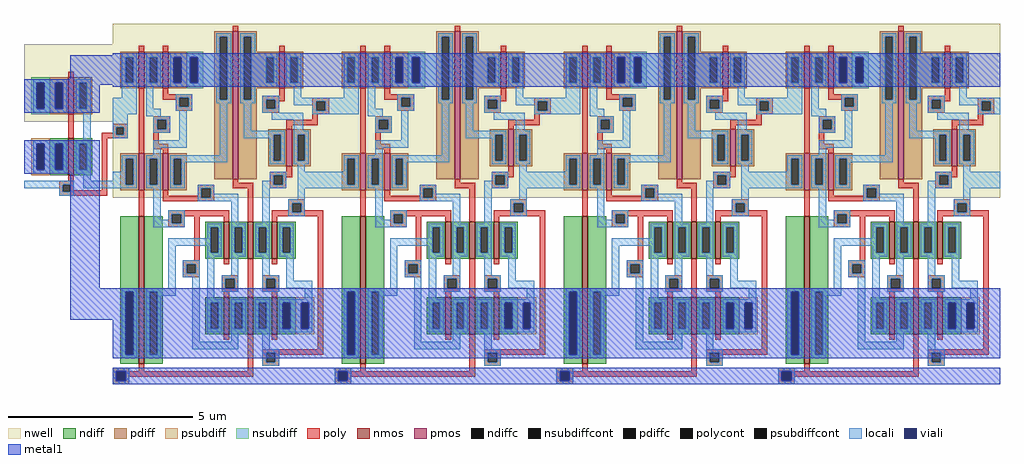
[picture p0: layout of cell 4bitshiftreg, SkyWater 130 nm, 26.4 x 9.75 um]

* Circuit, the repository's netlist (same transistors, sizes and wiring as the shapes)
* NGSPICE file created from 4bitshiftreg.ext - technology: sky130A

.subckt CSR_DFF DB D QB CLK Q VDD GND
X0 GND Q QB GND sky130_fd_pr__nfet_01v8 ad=0.5 pd=3 as=0.25 ps=1.5 w=1 l=0.15
X1 a_n720_710# a_n720_1260# a_n720_n230# GND sky130_fd_pr__nfet_01v8 ad=0.25 pd=1.5 as=0.5 ps=3 w=1 l=0.15
X2 QB Q a_n210_770# VDD sky130_fd_pr__pfet_01v8 ad=0.5 pd=3 as=0.5 ps=3 w=1 l=0.15
X3 QB CLK a_n720_710# GND sky130_fd_pr__nfet_01v8 ad=0.25 pd=1.5 as=0.25 ps=1.5 w=1 l=0.15
X4 a_n720_n230# CLK GND GND sky130_fd_pr__nfet_01v8 ad=2 pd=9 as=2 ps=9 w=4 l=0.15
X5 Q QB a_n210_770# VDD sky130_fd_pr__pfet_01v8 ad=0.5 pd=3 as=1.3 ps=5.1 w=1 l=0.15
X6 a_n720_1260# CLK D VDD sky130_fd_pr__pfet_01v8 ad=0.25 pd=1.5 as=0.5 ps=3 w=1 l=0.15
X7 a_n210_770# CLK VDD VDD sky130_fd_pr__pfet_01v8 ad=1.3 pd=5.1 as=2 ps=9 w=4 l=0.15
X8 GND QB Q GND sky130_fd_pr__nfet_01v8 ad=0.5 pd=3 as=0.25 ps=1.5 w=1 l=0.15
X9 a_n720_1260# a_n720_710# a_n720_n230# GND sky130_fd_pr__nfet_01v8 ad=0.25 pd=1.5 as=0.5 ps=3 w=1 l=0.15
X10 VDD a_n720_710# a_n720_1260# VDD sky130_fd_pr__pfet_01v8 ad=0.5 pd=3 as=0.25 ps=1.5 w=1 l=0.15
X11 a_n720_710# CLK DB VDD sky130_fd_pr__pfet_01v8 ad=0.25 pd=1.5 as=0.5 ps=3 w=1 l=0.15
X12 VDD a_n720_1260# a_n720_710# VDD sky130_fd_pr__pfet_01v8 ad=0.5 pd=3 as=0.25 ps=1.5 w=1 l=0.15
X13 Q CLK a_n720_1260# GND sky130_fd_pr__nfet_01v8 ad=0.25 pd=1.5 as=0.25 ps=1.5 w=1 l=0.15
.ends

.subckt inverter A Y VP VN
X0 Y A VN VN sky130_fd_pr__nfet_01v8 ad=0.5 pd=3 as=0.5 ps=3 w=1 l=0.15
X1 Y A VP VP sky130_fd_pr__pfet_01v8 ad=0.5 pd=3 as=0.5 ps=3 w=1 l=0.15
.ends


* Top level circuit 4bitshiftreg

XCSR_DFF_3 CSR_DFF_3/DB CSR_DFF_3/D CSR_DFF_3/QB CSR_DFF_3/CLK CSR_DFF_3/Q inverter_0/VP
+ VSUBS CSR_DFF
Xinverter_0 CSR_DFF_1/D inverter_0/Y inverter_0/VP VSUBS inverter
XCSR_DFF_0 CSR_DFF_3/QB CSR_DFF_3/Q CSR_DFF_0/QB CSR_DFF_3/CLK CSR_DFF_0/Q inverter_0/VP
+ VSUBS CSR_DFF
XCSR_DFF_1 inverter_0/Y CSR_DFF_1/D CSR_DFF_2/DB CSR_DFF_3/CLK CSR_DFF_2/D inverter_0/VP
+ VSUBS CSR_DFF
XCSR_DFF_2 CSR_DFF_2/DB CSR_DFF_2/D CSR_DFF_3/DB CSR_DFF_3/CLK CSR_DFF_3/D inverter_0/VP
+ VSUBS CSR_DFF
.end

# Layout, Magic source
magic
tech sky130A
<< nwell >>
rect -285 655 -45 845
rect -285 635 -5 655
rect -45 630 -5 635
<< poly >>
rect -45 620 -5 630
rect -45 605 -35 620
rect -75 600 -35 605
rect -15 600 -5 620
rect -75 590 -5 600
rect -75 450 -60 590
rect -150 435 -60 450
<< polycont >>
rect -35 600 -15 620
<< locali >>
rect -45 620 -5 655
rect -45 600 -35 620
rect -15 600 -5 620
rect -45 590 -5 600
rect -80 455 -40 475
<< metal1 >>
rect -160 735 -45 815
rect -160 185 -80 495
rect -160 100 -45 185
use CSR_DFF  CSR_DFF_0
transform 1 0 2200 0 1 95
box -445 -170 155 805
use CSR_DFF  CSR_DFF_1
transform 1 0 400 0 1 95
box -445 -170 155 805
use CSR_DFF  CSR_DFF_2
transform 1 0 1000 0 1 95
box -445 -170 155 805
use CSR_DFF  CSR_DFF_3
transform 1 0 1600 0 1 95
box -445 -170 155 805
use inverter  inverter_0 ~/Documents/MP1/layout
transform 1 0 -160 0 1 495
box -125 -60 80 280
<< end >>

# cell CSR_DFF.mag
magic
tech sky130A
<< nwell >>
rect -445 335 155 805
<< nmos >>
rect -375 -115 -360 285
rect -145 170 -130 270
rect -80 170 -65 270
rect -15 170 0 270
rect -145 -35 -130 65
rect -80 -35 -65 65
rect -15 -35 0 65
<< pmos >>
rect -375 630 -360 730
rect -310 630 -295 730
rect -375 355 -360 455
rect -310 355 -295 455
rect -120 385 -105 785
rect 5 630 20 730
rect 25 420 40 520
<< ndiff >>
rect -425 80 -375 285
rect -425 -90 -410 80
rect -390 -90 -375 80
rect -425 -115 -375 -90
rect -360 80 -310 285
rect -195 255 -145 270
rect -195 185 -180 255
rect -160 185 -145 255
rect -195 170 -145 185
rect -130 255 -80 270
rect -130 185 -115 255
rect -95 185 -80 255
rect -130 170 -80 185
rect -65 255 -15 270
rect -65 185 -50 255
rect -30 185 -15 255
rect -65 170 -15 185
rect 0 255 50 270
rect 0 185 15 255
rect 35 185 50 255
rect 0 170 50 185
rect -360 -90 -345 80
rect -325 -90 -310 80
rect -195 50 -145 65
rect -195 -20 -180 50
rect -160 -20 -145 50
rect -195 -35 -145 -20
rect -130 50 -80 65
rect -130 -20 -115 50
rect -95 -20 -80 50
rect -130 -35 -80 -20
rect -65 50 -15 65
rect -65 -20 -50 50
rect -30 -20 -15 50
rect -65 -35 -15 -20
rect 0 50 50 65
rect 0 -20 15 50
rect 35 -20 50 50
rect 0 -35 50 -20
rect -360 -115 -310 -90
<< pdiff >>
rect -170 770 -120 785
rect -425 715 -375 730
rect -425 645 -410 715
rect -390 645 -375 715
rect -425 630 -375 645
rect -360 715 -310 730
rect -360 645 -345 715
rect -325 645 -310 715
rect -360 630 -310 645
rect -295 715 -245 730
rect -295 645 -280 715
rect -260 645 -245 715
rect -295 630 -245 645
rect -170 600 -155 770
rect -135 600 -120 770
rect -425 440 -375 455
rect -425 370 -410 440
rect -390 370 -375 440
rect -425 355 -375 370
rect -360 440 -310 455
rect -360 370 -345 440
rect -325 370 -310 440
rect -360 355 -310 370
rect -295 440 -245 455
rect -295 370 -280 440
rect -260 370 -245 440
rect -170 385 -120 600
rect -105 770 -55 785
rect -105 600 -90 770
rect -70 730 -55 770
rect -70 715 5 730
rect -70 645 -30 715
rect -10 645 5 715
rect -70 630 5 645
rect 20 715 70 730
rect 20 645 35 715
rect 55 645 70 715
rect 20 630 70 645
rect -70 600 -55 630
rect -105 385 -55 600
rect -25 505 25 520
rect -25 435 -10 505
rect 10 435 25 505
rect -25 420 25 435
rect 40 505 90 520
rect 40 435 55 505
rect 75 435 90 505
rect 40 420 90 435
rect -295 355 -245 370
<< ndiffc >>
rect -410 -90 -390 80
rect -180 185 -160 255
rect -115 185 -95 255
rect -50 185 -30 255
rect 15 185 35 255
rect -345 -90 -325 80
rect -180 -20 -160 50
rect -115 -20 -95 50
rect -50 -20 -30 50
rect 15 -20 35 50
<< pdiffc >>
rect -410 645 -390 715
rect -345 645 -325 715
rect -280 645 -260 715
rect -155 600 -135 770
rect -410 370 -390 440
rect -345 370 -325 440
rect -280 370 -260 440
rect -90 600 -70 770
rect -30 645 -10 715
rect 35 645 55 715
rect -10 435 10 505
rect 55 435 75 505
<< psubdiff >>
rect 50 50 100 65
rect 50 -20 65 50
rect 85 -20 100 50
rect 50 -35 100 -20
<< nsubdiff >>
rect -245 715 -200 730
rect -245 645 -235 715
rect -215 645 -200 715
rect -245 630 -200 645
<< psubdiffcont >>
rect 65 -20 85 50
<< nsubdiffcont >>
rect -235 645 -215 715
<< poly >>
rect -120 785 -105 800
rect -375 730 -360 745
rect -310 730 -295 745
rect -375 455 -360 630
rect -310 615 -295 630
rect -310 605 -230 615
rect -310 600 -265 605
rect -275 580 -265 600
rect -240 580 -230 605
rect -275 570 -230 580
rect -335 545 -290 555
rect -335 520 -325 545
rect -300 520 -290 545
rect -335 510 -290 520
rect -335 480 -320 510
rect -335 465 -295 480
rect -310 455 -295 465
rect 5 730 20 745
rect 5 610 20 630
rect -40 600 20 610
rect -40 575 -30 600
rect -5 595 20 600
rect 95 595 140 605
rect -5 575 5 595
rect -40 565 5 575
rect 95 570 105 595
rect 130 570 140 595
rect 95 560 140 570
rect 95 545 110 560
rect 25 530 110 545
rect 25 520 40 530
rect 25 405 40 420
rect -20 395 40 405
rect -120 375 -105 385
rect -215 360 -170 370
rect -120 360 -65 375
rect -20 370 -10 395
rect 15 390 40 395
rect 15 370 25 390
rect -20 360 25 370
rect -375 285 -360 355
rect -310 340 -295 355
rect -215 340 -205 360
rect -310 335 -205 340
rect -180 335 -170 360
rect -310 325 -170 335
rect -295 290 -130 300
rect -295 265 -285 290
rect -260 285 -130 290
rect -260 265 -250 285
rect -295 255 -250 265
rect -225 165 -210 285
rect -145 270 -130 285
rect -80 270 -65 360
rect 30 320 75 330
rect 30 300 40 320
rect -15 295 40 300
rect 65 300 75 320
rect 65 295 125 300
rect -15 285 125 295
rect -15 270 0 285
rect -255 155 -210 165
rect -145 155 -130 170
rect -255 130 -245 155
rect -220 130 -210 155
rect -255 120 -210 130
rect -150 115 -105 125
rect -150 90 -140 115
rect -115 90 -105 115
rect -150 80 -105 90
rect -145 65 -130 80
rect -80 65 -65 170
rect -15 155 0 170
rect -40 115 5 125
rect -40 90 -30 115
rect -5 90 5 115
rect -40 80 5 90
rect -15 65 0 80
rect -145 -50 -130 -35
rect -445 -135 -400 -125
rect -375 -135 -360 -115
rect -80 -135 -65 -35
rect -15 -50 0 -35
rect 110 -75 125 285
rect -40 -85 125 -75
rect -40 -110 -30 -85
rect -5 -90 125 -85
rect -5 -110 5 -90
rect -40 -120 5 -110
rect -445 -160 -435 -135
rect -410 -150 -65 -135
rect -410 -160 -400 -150
rect -445 -170 -400 -160
<< polycont >>
rect -265 580 -240 605
rect -325 520 -300 545
rect -30 575 -5 600
rect 105 570 130 595
rect -10 370 15 395
rect -205 335 -180 360
rect -285 265 -260 290
rect 40 295 65 320
rect -245 130 -220 155
rect -140 90 -115 115
rect -30 90 -5 115
rect -30 -110 -5 -85
rect -435 -160 -410 -135
<< locali >>
rect -165 770 -125 780
rect -165 725 -155 770
rect -420 715 -380 725
rect -420 645 -410 715
rect -390 645 -380 715
rect -420 605 -380 645
rect -445 560 -380 605
rect -355 715 -315 725
rect -355 645 -345 715
rect -325 645 -315 715
rect -355 635 -315 645
rect -290 715 -155 725
rect -290 645 -280 715
rect -260 645 -235 715
rect -215 645 -155 715
rect -290 635 -155 645
rect -355 575 -335 635
rect -275 605 -230 615
rect -275 580 -265 605
rect -240 580 -230 605
rect -165 600 -155 635
rect -135 600 -125 770
rect -165 590 -125 600
rect -100 770 -60 780
rect -100 600 -90 770
rect -70 725 -60 770
rect -70 715 0 725
rect -70 645 -30 715
rect -10 645 0 715
rect -70 635 0 645
rect 25 715 65 725
rect 25 645 35 715
rect 55 645 65 715
rect 25 635 65 645
rect -70 600 -60 635
rect -100 590 -60 600
rect -40 600 5 610
rect -355 555 -315 575
rect -275 570 -230 580
rect -335 545 -290 555
rect -335 520 -325 545
rect -300 520 -290 545
rect -335 510 -290 520
rect -265 490 -245 570
rect -335 470 -245 490
rect -335 450 -315 470
rect -155 450 -135 590
rect -90 515 -70 590
rect -40 575 -30 600
rect -5 575 5 600
rect 45 605 65 635
rect 45 595 155 605
rect 45 585 105 595
rect -40 565 5 575
rect 95 570 105 585
rect 130 570 155 595
rect -15 545 70 565
rect 95 560 155 570
rect 45 515 70 545
rect -90 505 20 515
rect -90 495 -10 505
rect -420 440 -380 450
rect -420 405 -410 440
rect -445 370 -410 405
rect -390 370 -380 440
rect -445 360 -380 370
rect -355 440 -315 450
rect -355 370 -345 440
rect -325 370 -315 440
rect -355 360 -315 370
rect -290 440 -135 450
rect -290 370 -280 440
rect -260 430 -135 440
rect -20 435 -10 495
rect 10 435 20 505
rect -260 370 -250 430
rect -20 425 20 435
rect 45 505 85 515
rect 45 435 55 505
rect 75 435 85 505
rect 45 425 85 435
rect 55 405 75 425
rect -20 395 25 405
rect -20 380 -10 395
rect -40 370 -10 380
rect 15 370 25 395
rect -290 360 -250 370
rect -215 360 -170 370
rect -335 275 -315 360
rect -215 335 -205 360
rect -180 345 -170 360
rect -40 360 25 370
rect 55 360 155 405
rect -180 335 -105 345
rect -215 325 -105 335
rect -295 290 -250 300
rect -295 275 -285 290
rect -335 265 -285 275
rect -260 265 -250 290
rect -125 265 -105 325
rect -40 265 -20 360
rect 55 330 75 360
rect 30 320 75 330
rect 30 295 40 320
rect 65 295 75 320
rect 30 285 75 295
rect -335 255 -250 265
rect -190 255 -150 265
rect -190 225 -180 255
rect -295 205 -180 225
rect -295 90 -275 205
rect -190 185 -180 205
rect -160 185 -150 255
rect -190 175 -150 185
rect -125 255 -85 265
rect -125 185 -115 255
rect -95 185 -85 255
rect -125 175 -85 185
rect -60 255 -20 265
rect -60 185 -50 255
rect -30 185 -20 255
rect -60 175 -20 185
rect 5 255 45 265
rect 5 185 15 255
rect 35 185 45 255
rect 5 175 45 185
rect -255 155 -210 165
rect -255 130 -245 155
rect -220 130 -210 155
rect -255 120 -210 130
rect -420 80 -380 90
rect -420 -90 -410 80
rect -390 -90 -380 80
rect -420 -100 -380 -90
rect -355 80 -275 90
rect -355 -90 -345 80
rect -325 70 -275 80
rect -325 -90 -315 70
rect -230 -55 -210 120
rect -190 60 -170 175
rect -125 125 -105 175
rect -150 115 -105 125
rect -150 90 -140 115
rect -115 90 -105 115
rect -150 80 -105 90
rect -40 125 -20 175
rect -40 115 5 125
rect -40 90 -30 115
rect -5 90 5 115
rect 25 110 45 175
rect 25 90 95 110
rect -40 80 5 90
rect 75 60 95 90
rect -190 50 -150 60
rect -190 -20 -180 50
rect -160 -20 -150 50
rect -190 -30 -150 -20
rect -125 50 -85 60
rect -125 -20 -115 50
rect -95 -20 -85 50
rect -125 -30 -85 -20
rect -60 50 -20 60
rect -60 -20 -50 50
rect -30 -20 -20 50
rect -60 -30 -20 -20
rect 5 50 95 60
rect 5 -20 15 50
rect 35 -20 65 50
rect 85 -20 95 50
rect 5 -30 95 -20
rect -125 -55 -105 -30
rect -230 -75 -105 -55
rect -40 -75 -20 -30
rect -355 -100 -315 -90
rect -40 -85 5 -75
rect -40 -110 -30 -85
rect -5 -110 5 -85
rect -40 -120 5 -110
rect -445 -135 -400 -125
rect -445 -160 -435 -135
rect -410 -160 -400 -135
rect -445 -170 -400 -160
<< viali >>
rect -280 645 -260 715
rect -235 645 -215 715
rect -410 -90 -390 80
rect 15 -20 35 50
rect 65 -20 85 50
rect -435 -160 -410 -135
<< metal1 >>
rect -445 715 155 725
rect -445 645 -280 715
rect -260 645 -235 715
rect -215 645 155 715
rect -445 635 155 645
rect -445 80 155 90
rect -445 -90 -410 80
rect -390 50 155 80
rect -390 -20 15 50
rect 35 -20 65 50
rect 85 -20 155 50
rect -390 -90 155 -20
rect -445 -100 155 -90
rect -445 -135 155 -125
rect -445 -160 -435 -135
rect -410 -160 155 -135
rect -445 -170 155 -160
<< labels >>
rlabel metal1 -445 680 -445 680 7 VDD
rlabel locali -445 580 -445 580 7 D
rlabel locali -445 380 -445 380 7 DB
rlabel metal1 -445 -10 -445 -10 7 GND
rlabel metal1 -445 -150 -445 -150 7 CLK
rlabel locali 155 580 155 580 3 Q
rlabel locali 155 380 155 380 3 QB
<< end >>

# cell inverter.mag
magic
tech sky130A
<< nwell >>
rect -125 140 80 280
<< nmos >>
rect -5 -5 10 95
<< pmos >>
rect -5 160 10 260
<< ndiff >>
rect -55 80 -5 95
rect -55 10 -40 80
rect -20 10 -5 80
rect -55 -5 -5 10
rect 10 80 60 95
rect 10 10 25 80
rect 45 10 60 80
rect 10 -5 60 10
<< pdiff >>
rect -55 245 -5 260
rect -55 175 -40 245
rect -20 175 -5 245
rect -55 160 -5 175
rect 10 245 60 260
rect 10 175 25 245
rect 45 175 60 245
rect 10 160 60 175
<< ndiffc >>
rect -40 10 -20 80
rect 25 10 45 80
<< pdiffc >>
rect -40 175 -20 245
rect 25 175 45 245
<< psubdiff >>
rect -105 80 -55 95
rect -105 10 -90 80
rect -70 10 -55 80
rect -105 -5 -55 10
<< nsubdiff >>
rect -105 245 -55 260
rect -105 175 -90 245
rect -70 175 -55 245
rect -105 160 -55 175
<< psubdiffcont >>
rect -90 10 -70 80
<< nsubdiffcont >>
rect -90 175 -70 245
<< poly >>
rect -5 260 10 275
rect -5 95 10 160
rect -5 -20 10 -5
rect -30 -30 10 -20
rect -30 -50 -20 -30
rect 0 -50 10 -30
rect -30 -60 10 -50
<< polycont >>
rect -20 -50 0 -30
<< locali >>
rect -100 245 -10 255
rect -100 175 -90 245
rect -70 175 -40 245
rect -20 175 -10 245
rect -100 165 -10 175
rect 15 245 55 255
rect 15 175 25 245
rect 45 175 55 245
rect 15 165 55 175
rect 35 90 55 165
rect -100 80 -10 90
rect -100 10 -90 80
rect -70 10 -40 80
rect -20 10 -10 80
rect -100 0 -10 10
rect 15 80 55 90
rect 15 10 25 80
rect 45 10 55 80
rect 15 0 55 10
rect 35 -20 55 0
rect -125 -30 10 -20
rect -125 -40 -20 -30
rect -30 -50 -20 -40
rect 0 -50 10 -30
rect 35 -40 80 -20
rect -30 -60 10 -50
<< viali >>
rect -90 175 -70 245
rect -40 175 -20 245
rect -90 10 -70 80
rect -40 10 -20 80
<< metal1 >>
rect -125 245 80 255
rect -125 175 -90 245
rect -70 175 -40 245
rect -20 175 80 245
rect -125 165 80 175
rect -125 80 80 90
rect -125 10 -90 80
rect -70 10 -40 80
rect -20 10 80 80
rect -125 0 80 10
<< labels >>
rlabel metal1 -125 210 -125 210 7 VP
port 3 w
rlabel locali -125 -30 -125 -30 7 A
port 1 w
rlabel locali 80 -30 80 -30 3 Y
port 2 e
rlabel metal1 -125 45 -125 45 7 VN
port 4 w
<< end >>
